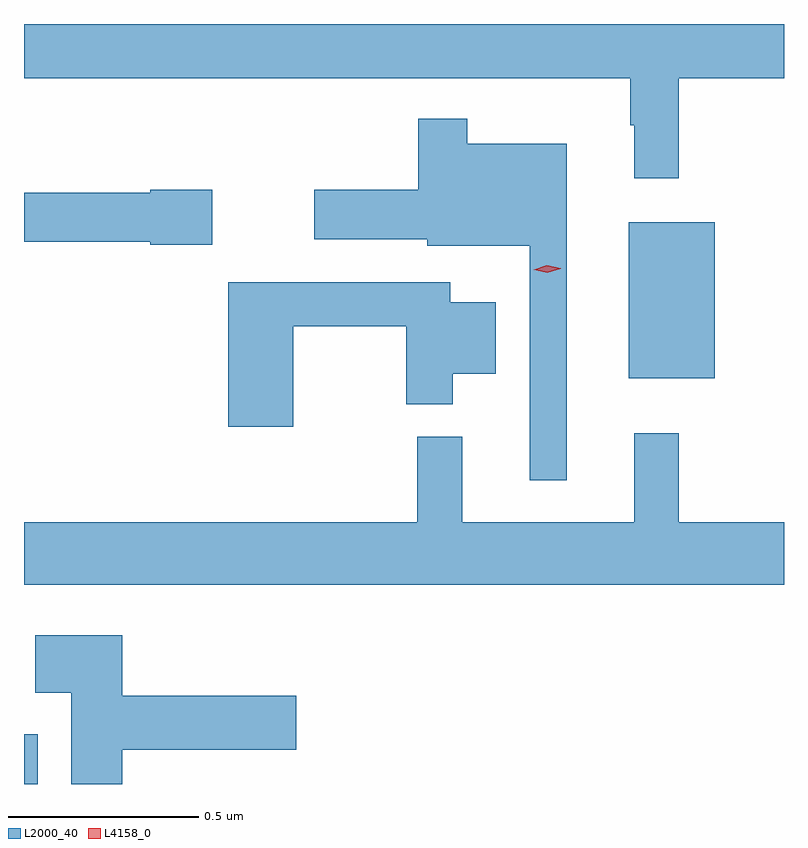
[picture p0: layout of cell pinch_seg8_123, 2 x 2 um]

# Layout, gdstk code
import gdstk
lib = gdstk.Library(unit=1e-6, precision=1e-09)
def R(c, l, rs):  # rectangles x0, y0, x1, y1
    for r in rs: c.add(gdstk.rectangle(r[:2], r[2:], *l))
def P(c, l, *ps):  # polygons
    for p in ps: c.add(gdstk.Polygon(p, *l))
L2000_40 = (2000, 40)
L4158_0 = (4158, 0)

pinch_seg8_123 = lib.new_cell('pinch_seg8_123')
R(pinch_seg8_123, L2000_40, [(1031.704,1101.323,1031.74,1101.454), (1033.295,1102.391,1033.522,1102.801)])
P(pinch_seg8_123, L2000_40, [(1033.427,1103.18),(1033.704,1103.18),(1033.704,1103.323),(1031.704,1103.323),(1031.704,1103.18),(1033.299,1103.18),(1033.299,1103.057),(1033.31,1103.057),(1033.31,1102.917),(1033.427,1102.917)],
  [(1033.132,1103.008),(1032.871,1103.008),(1032.871,1103.074),(1032.742,1103.074),(1032.742,1102.887),(1032.468,1102.887),(1032.468,1102.757),(1032.765,1102.757),(1032.765,1102.739),(1033.035,1102.739),(1033.035,1102.122),(1033.132,1102.122)],
  [(1032.199,1102.887),(1032.036,1102.887),(1032.036,1102.879),(1031.704,1102.879),(1031.704,1102.75),(1032.036,1102.75),(1032.036,1102.742),(1032.199,1102.742)],
  [(1032.412,1102.528),(1032.71,1102.528),(1032.71,1102.322),(1032.832,1102.322),(1032.832,1102.403),(1032.946,1102.403),(1032.946,1102.591),(1032.826,1102.591),(1032.826,1102.644),(1032.242,1102.644),(1032.242,1102.263),(1032.412,1102.263)],
  [(1033.704,1102.012),(1033.427,1102.012),(1033.427,1102.246),(1033.31,1102.246),(1033.31,1102.012),(1032.857,1102.012),(1032.857,1102.237),(1032.739,1102.237),(1032.739,1102.012),(1031.704,1102.012),(1031.704,1101.848),(1033.704,1101.848)],
  [(1031.963,1101.413),(1032.421,1101.413),(1032.421,1101.555),(1031.963,1101.555),(1031.963,1101.715),(1031.733,1101.715),(1031.733,1101.563),(1031.828,1101.563),(1031.828,1101.323),(1031.963,1101.323)])
P(pinch_seg8_123, L4158_0, [(1033.081,1102.668),(1033.045,1102.676),(1033.045,1102.676),(1033.045,1102.676),(1033.08,1102.688),(1033.116,1102.68),(1033.116,1102.679),(1033.116,1102.679)])

lib.write_gds('pinch_seg8_123.gds')
